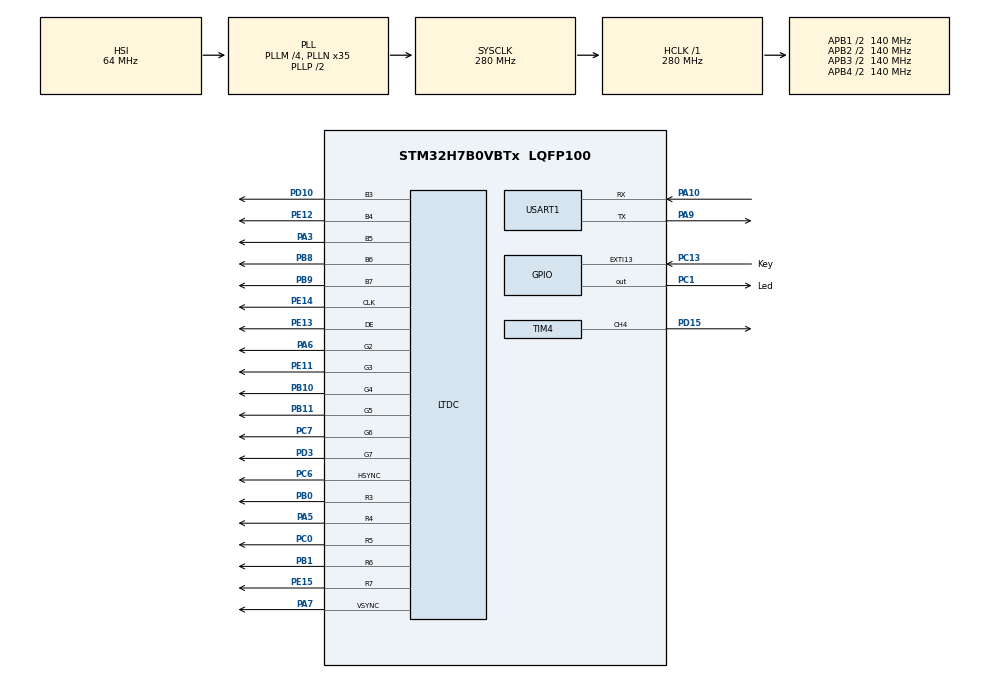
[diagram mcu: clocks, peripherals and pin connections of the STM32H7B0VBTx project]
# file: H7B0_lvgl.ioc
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CORTEX_M7.AccessPermission-Cortex_Memory_Protection_Unit_Region0_Settings=MPU_REGION_FULL_ACCESS
CORTEX_M7.BaseAddress-Cortex_Memory_Protection_Unit_Region0_Settings=0x24000000
CORTEX_M7.CPU_DCache=Enabled
CORTEX_M7.CPU_ICache=Enabled
CORTEX_M7.Enable-Cortex_Memory_Protection_Unit_Region0_Settings=MPU_REGION_ENABLE
CORTEX_M7.IsBufferable-Cortex_Memory_Protection_Unit_Region0_Settings=MPU_ACCESS_NOT_BUFFERABLE
CORTEX_M7.IsCacheable-Cortex_Memory_Protection_Unit_Region0_Settings=MPU_ACCESS_CACHEABLE
CORTEX_M7.MPU_Control=MPU_PRIVILEGED_DEFAULT
CORTEX_M7.Size-Cortex_Memory_Protection_Unit_Region0_Settings=MPU_REGION_SIZE_1MB
CORTEX_M7.TypeExtField-Cortex_Memory_Protection_Unit_Region0_Settings=MPU_TEX_LEVEL0
DMA2D.ColorMode=DMA2D_OUTPUT_RGB565
DMA2D.Mode=DMA2D_R2M
LTDC.ActiveW=800
LTDC.Alpha0_L0=0
LTDC.Alpha_L0=255
LTDC.Blue=0
LTDC.Blue_L0=255
LTDC.FBStartAdress_L0=\ 0x24000000
LTDC.Green=0
LTDC.Green_L0=255
LTDC.HBP=80
LTDC.HFP=200
LTDC.HSync=1
LTDC.ImageHeight_L0=480
LTDC.ImageWidth_L0=800
LTDC.Layers=0
LTDC.PixelFormat_L0=LTDC_PIXEL_FORMAT_RGB565
LTDC.Red=0
LTDC.Red_L0=255
LTDC.VBP=40
LTDC.VFP=22
LTDC.VSync=1
LTDC.WindowX1_L0=800
LTDC.WindowY1_L0=480
Mcu.Family=STM32H7
Mcu.Name=STM32H7B0VBTx
Mcu.Package=LQFP100
NVIC.DMA2D_IRQn=true\:0\:0\:false\:false\:true\:true\:true
NVIC.EXTI15_10_IRQn=true\:0\:3\:false\:false\:true\:true\:true
NVIC.PriorityGroup=NVIC_PRIORITYGROUP_2
NVIC.TIM7_IRQn=true\:1\:0\:true\:false\:true\:true\:true
NVIC.USART1_IRQn=true\:0\:2\:false\:false\:true\:true\:true
PA10.Mode=Asynchronous
PA10.Signal=USART1_RX
PA13.Mode=Serial_Wire
PA13.Signal=DEBUG_JTMS-SWDIO
PA14.Mode=Serial_Wire
PA14.Signal=DEBUG_JTCK-SWCLK
PA3.GPIO_Speed=GPIO_SPEED_FREQ_VERY_HIGH
PA3.Mode=RGB565
PA3.Signal=LTDC_B5
PA5.GPIO_Speed=GPIO_SPEED_FREQ_VERY_HIGH
PA5.Mode=RGB565
PA5.Signal=LTDC_R4
PA6.GPIO_Speed=GPIO_SPEED_FREQ_VERY_HIGH
PA6.Mode=RGB565
PA6.Signal=LTDC_G2
PA7.GPIO_Speed=GPIO_SPEED_FREQ_VERY_HIGH
PA7.Mode=RGB565
PA7.Signal=LTDC_VSYNC
PA9.Mode=Asynchronous
PA9.Signal=USART1_TX
PB0.GPIO_Speed=GPIO_SPEED_FREQ_VERY_HIGH
PB0.Mode=RGB565
PB0.Signal=LTDC_R3
PB1.GPIO_Speed=GPIO_SPEED_FREQ_VERY_HIGH
PB1.Mode=RGB565
PB1.Signal=LTDC_R6
PB10.GPIO_Speed=GPIO_SPEED_FREQ_VERY_HIGH
PB10.Mode=RGB565
PB10.Signal=LTDC_G4
PB11.GPIO_Speed=GPIO_SPEED_FREQ_VERY_HIGH
PB11.Mode=RGB565
PB11.Signal=LTDC_G5
PB8.GPIO_FM8=__NULL
PB8.GPIO_Speed=GPIO_SPEED_FREQ_VERY_HIGH
PB8.Mode=RGB565
PB8.Signal=LTDC_B6
PB9.GPIO_FM9=__NULL
PB9.GPIO_Speed=GPIO_SPEED_FREQ_VERY_HIGH
PB9.Mode=RGB565
PB9.Signal=LTDC_B7
PC0.GPIO_Speed=GPIO_SPEED_FREQ_VERY_HIGH
PC0.Mode=RGB565
PC0.Signal=LTDC_R5
PC1.GPIO_Label=Led
PC1.GPIO_Speed=GPIO_SPEED_FREQ_LOW
PC1.PinState=GPIO_PIN_RESET
PC1.Signal=GPIO_Output
PC13.GPIO_Label=Key
PC13.GPIO_ModeDefaultEXTI=GPIO_MODE_IT_FALLING
PC13.GPIO_PuPd=GPIO_PULLUP
PC13.Signal=GPXTI13
PC6.GPIO_Speed=GPIO_SPEED_FREQ_VERY_HIGH
PC6.Mode=RGB565
PC6.Signal=LTDC_HSYNC
PC7.GPIO_Speed=GPIO_SPEED_FREQ_VERY_HIGH
PC7.Mode=RGB565
PC7.Signal=LTDC_G6
PD10.GPIO_Speed=GPIO_SPEED_FREQ_VERY_HIGH
PD10.Mode=RGB565
PD10.Signal=LTDC_B3
PD15.Signal=S_TIM4_CH4
PD3.GPIO_Speed=GPIO_SPEED_FREQ_VERY_HIGH
PD3.Mode=RGB565
PD3.Signal=LTDC_G7
PE11.GPIO_Speed=GPIO_SPEED_FREQ_VERY_HIGH
PE11.Mode=RGB565
PE11.Signal=LTDC_G3
PE12.GPIO_Speed=GPIO_SPEED_FREQ_VERY_HIGH
PE12.Mode=RGB565
PE12.Signal=LTDC_B4
PE13.GPIO_Speed=GPIO_SPEED_FREQ_VERY_HIGH
PE13.Mode=RGB565
PE13.Signal=LTDC_DE
PE14.GPIO_Speed=GPIO_SPEED_FREQ_VERY_HIGH
PE14.Mode=RGB565
PE14.Signal=LTDC_CLK
PE15.GPIO_Speed=GPIO_SPEED_FREQ_VERY_HIGH
PE15.Mode=RGB565
PE15.Signal=LTDC_R7
PH0-OSC_IN.Mode=HSE-External-Oscillator
PH0-OSC_IN.Signal=RCC_OSC_IN
PH1-OSC_OUT.Mode=HSE-External-Oscillator
PH1-OSC_OUT.Signal=RCC_OSC_OUT
ProjectManager.HeapSize=0x200
ProjectManager.StackSize=0x400
ProjectManager.TargetToolchain=MDK-ARM V5.27
RCC.ADCFreq_Value=129000000
RCC.APB1Freq_Value=140000000
RCC.APB2Freq_Value=140000000
RCC.APB3Freq_Value=140000000
RCC.APB4Freq_Value=140000000
RCC.CDPPRE=RCC_APB3_DIV2
RCC.CDPPRE1=RCC_APB1_DIV2
RCC.CDPPRE2=RCC_APB2_DIV2
RCC.CortexFreq_Value=280000000
RCC.DIVM1=4
RCC.DIVM3=4
RCC.DIVN1=35
RCC.DIVN3=8
RCC.DIVR3=4
RCC.HCLKFreq_Value=280000000
RCC.PLL3FRACN=0
RCC.PLLFRACN=0
RCC.SRDPPRE=RCC_APB4_DIV2
RCC.SYSCLKFreq_VALUE=280000000
RCC.SYSCLKSource=RCC_SYSCLKSOURCE_PLLCLK
RCC.USBFreq_Value=280000000
SH.S_TIM4_CH4.0=TIM4_CH4,PWM Generation4 CH4
TIM4.Channel-PWM\ Generation4\ CH4=TIM_CHANNEL_4
TIM4.Period=99
TIM4.Prescaler=1399
TIM4.Pulse-PWM\ Generation4\ CH4=99
TIM7.Period=999
TIM7.Prescaler=279
USART1.VirtualMode-Asynchronous=VM_ASYNC
VP_DMA2D_VS_DMA2D.Mode=DMA2D_Activate
VP_TIM7_VS_ClockSourceINT.Mode=Enable_Timer
board=custom

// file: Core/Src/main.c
/* USER CODE BEGIN Header */
/**
 ******************************************************************************
 * @file           : main.c
 * @brief          : Main program body
 ******************************************************************************
 * @attention
 *
 * <h2><center>&copy; Copyright (c) 2023 STMicroelectronics.
 * All rights reserved.</center></h2>
 *
 * This software component is licensed by ST under BSD 3-Clause license,
 * the "License"; You may not use this file except in compliance with the
 * License. You may obtain a copy of the License at:
 *                        opensource.org/licenses/BSD-3-Clause
 *
 ******************************************************************************
 */
/* USER CODE END Header */
#include "main.h"

/* USER CODE BEGIN Includes */
#include "lvgl.h"
#include "lv_port_disp.h"
#include "lv_port_indev.h"
#include "lv_demo_keypad_encoder.h"

/* USER CODE END Includes */

DMA2D_HandleTypeDef hdma2d;

LTDC_HandleTypeDef hltdc;

TIM_HandleTypeDef htim4;
TIM_HandleTypeDef htim7;

UART_HandleTypeDef huart1;

/* USER CODE BEGIN PV */
lv_obj_t * led1;
lv_obj_t * led2;
lv_obj_t * led3;
/* USER CODE END PV */

void SystemClock_Config(void);
static void MPU_Config(void);
static void MX_GPIO_Init(void);
static void MX_USART1_UART_Init(void);
static void MX_TIM4_Init(void);
static void MX_LTDC_Init(void);
static void MX_DMA2D_Init(void);
static void MX_TIM7_Init(void);

/* USER CODE BEGIN 0 */
void lv_example_led_1(void)
{

    /*Create a LED and switch it OFF*/
    led1  = lv_led_create(lv_scr_act());
    lv_obj_align(led1, LV_ALIGN_CENTER, -80, 0);
    lv_led_set_color(led1, lv_palette_main(LV_PALETTE_GREEN));
    lv_led_off(led1);

    /*Copy the previous LED and set a brightness*/
    led2  = lv_led_create(lv_scr_act());
    lv_obj_align(led2, LV_ALIGN_CENTER, 0, 0);
    lv_led_set_brightness(led2, 150);
    lv_led_set_color(led2, lv_palette_main(LV_PALETTE_RED));

    /*Copy the previous LED and switch it ON*/
    led3  = lv_led_create(lv_scr_act());
    lv_obj_align(led3, LV_ALIGN_CENTER, 80, 0);
    lv_led_on(led3);
}
static void event_handler(lv_event_t * e)
{
    lv_event_code_t code = lv_event_get_code(e);

    if(code == LV_EVENT_CLICKED) {
        printf("1\n");
        lv_led_toggle(led1);
    }
    else if(code == LV_EVENT_VALUE_CHANGED) {
        printf("2\n");
        lv_led_toggle(led2);
    }
}

void lv_example_btn_1(void)
{
    lv_obj_t * label;

    lv_obj_t * btn1 = lv_btn_create(lv_scr_act());
    lv_obj_add_event_cb(btn1, event_handler, LV_EVENT_ALL, NULL);
    lv_obj_align(btn1, LV_ALIGN_CENTER, 60, 160);

    label = lv_label_create(btn1);
    lv_label_set_text(label, "Button");
    lv_obj_center(label);

    lv_obj_t * btn2 = lv_btn_create(lv_scr_act());
    lv_obj_add_event_cb(btn2, event_handler, LV_EVENT_ALL, NULL);
    lv_obj_align(btn2, LV_ALIGN_CENTER, -60, 160);
    lv_obj_add_flag(btn2, LV_OBJ_FLAG_CHECKABLE);
    lv_obj_set_height(btn2, LV_SIZE_CONTENT);

    label = lv_label_create(btn2);
    lv_label_set_text(label, "Toggle");
    lv_obj_center(label);

}
/* USER CODE END 0 */

int main(void)
{

  /* MPU Configuration--------------------------------------------------------*/
  MPU_Config();

  /* Enable I-Cache---------------------------------------------------------*/
  SCB_EnableICache();

  /* Enable D-Cache---------------------------------------------------------*/
  SCB_EnableDCache();

  /* MCU Configuration--------------------------------------------------------*/

  /* Reset of all peripherals, Initializes the Flash interface and the Systick. */
  HAL_Init();

  /* Configure the system clock */
  SystemClock_Config();

  /* Initialize all configured peripherals */
  MX_GPIO_Init();
  MX_USART1_UART_Init();
  MX_TIM4_Init();
  MX_LTDC_Init();
  MX_DMA2D_Init();
  MX_TIM7_Init();
  /* USER CODE BEGIN 2 */

    HAL_TIM_Base_Start_IT(&htim7);
    HAL_TIM_PWM_Start(&htim4, TIM_CHANNEL_4);
    TIM4->CCR4 = 99;
    Touch_Init(); // 触摸屏初始化
    Usart_SendString((uint8_t *)"初始化ok\n");
    printf("ok\n");

/********************LVGL初始化*********************************/
    lv_init();			  // lvgl系统初始化
    lv_port_disp_init();  // lvgl显示接口初始化,放在lv_init()的后面
    lv_port_indev_init(); // lvgl输入接口初始化,放在lv_init()的后面
    lv_example_led_1();
    lv_example_btn_1();
//    lv_example_span_1();
//    lv_demo_keypad_encoder();
//    lv_example_style_1();

  /* USER CODE END 2 */

  /* Infinite loop */
  while (1)
  {

    /* USER CODE BEGIN 3 */
    lv_task_handler(); // lvgl的事务处理
    GPIOC->ODR^=GPIO_PIN_1;
  }
  /* USER CODE END 3 */
}

void SystemClock_Config(void)
{
  RCC_OscInitTypeDef RCC_OscInitStruct = {0};
  RCC_ClkInitTypeDef RCC_ClkInitStruct = {0};
  RCC_PeriphCLKInitTypeDef PeriphClkInitStruct = {0};

  /** Supply configuration update enable
  */
  HAL_PWREx_ConfigSupply(PWR_LDO_SUPPLY);
  /** Configure the main internal regulator output voltage
  */
  __HAL_PWR_VOLTAGESCALING_CONFIG(PWR_REGULATOR_VOLTAGE_SCALE0);

  while(!__HAL_PWR_GET_FLAG(PWR_FLAG_VOSRDY)) {}
  /** Macro to configure the PLL clock source
  */
  __HAL_RCC_PLL_PLLSOURCE_CONFIG(RCC_PLLSOURCE_HSI);
  /** Initializes the RCC Oscillators according to the specified parameters
  * in the RCC_OscInitTypeDef structure.
  */
  RCC_OscInitStruct.OscillatorType = RCC_OSCILLATORTYPE_HSI;
  RCC_OscInitStruct.HSIState = RCC_HSI_DIV1;
  RCC_OscInitStruct.HSICalibrationValue = RCC_HSICALIBRATION_DEFAULT;
  RCC_OscInitStruct.PLL.PLLState = RCC_PLL_ON;
  RCC_OscInitStruct.PLL.PLLSource = RCC_PLLSOURCE_HSI;
  RCC_OscInitStruct.PLL.PLLM = 4;
  RCC_OscInitStruct.PLL.PLLN = 35;
  RCC_OscInitStruct.PLL.PLLP = 2;
  RCC_OscInitStruct.PLL.PLLQ = 2;
  RCC_OscInitStruct.PLL.PLLR = 2;
  RCC_OscInitStruct.PLL.PLLRGE = RCC_PLL1VCIRANGE_3;
  RCC_OscInitStruct.PLL.PLLVCOSEL = RCC_PLL1VCOWIDE;
  RCC_OscInitStruct.PLL.PLLFRACN = 0;
  if (HAL_RCC_OscConfig(&RCC_OscInitStruct) != HAL_OK)
  {
    Error_Handler();
  }
  /** Initializes the CPU, AHB and APB buses clocks
  */
  RCC_ClkInitStruct.ClockType = RCC_CLOCKTYPE_HCLK|RCC_CLOCKTYPE_SYSCLK
                              |RCC_CLOCKTYPE_PCLK1|RCC_CLOCKTYPE_PCLK2
                              |RCC_CLOCKTYPE_D3PCLK1|RCC_CLOCKTYPE_D1PCLK1;
  RCC_ClkInitStruct.SYSCLKSource = RCC_SYSCLKSOURCE_PLLCLK;
  RCC_ClkInitStruct.SYSCLKDivider = RCC_SYSCLK_DIV1;
  RCC_ClkInitStruct.AHBCLKDivider = RCC_HCLK_DIV1;
  RCC_ClkInitStruct.APB3CLKDivider = RCC_APB3_DIV2;
  RCC_ClkInitStruct.APB1CLKDivider = RCC_APB1_DIV2;
  RCC_ClkInitStruct.APB2CLKDivider = RCC_APB2_DIV2;
  RCC_ClkInitStruct.APB4CLKDivider = RCC_APB4_DIV2;

  if (HAL_RCC_ClockConfig(&RCC_ClkInitStruct, FLASH_LATENCY_7) != HAL_OK)
  {
    Error_Handler();
  }
  PeriphClkInitStruct.PeriphClockSelection = RCC_PERIPHCLK_LTDC|RCC_PERIPHCLK_USART16;
  PeriphClkInitStruct.PLL3.PLL3M = 4;
  PeriphClkInitStruct.PLL3.PLL3N = 8;
  PeriphClkInitStruct.PLL3.PLL3P = 2;
  PeriphClkInitStruct.PLL3.PLL3Q = 2;
  PeriphClkInitStruct.PLL3.PLL3R = 4;
  PeriphClkInitStruct.PLL3.PLL3RGE = RCC_PLL3VCIRANGE_3;
  PeriphClkInitStruct.PLL3.PLL3VCOSEL = RCC_PLL3VCOWIDE;
  PeriphClkInitStruct.PLL3.PLL3FRACN = 0;
  PeriphClkInitStruct.Usart16ClockSelection = RCC_USART16910CLKSOURCE_D2PCLK2;
  if (HAL_RCCEx_PeriphCLKConfig(&PeriphClkInitStruct) != HAL_OK)
  {
    Error_Handler();
  }
}

static void MX_DMA2D_Init(void)
{

  hdma2d.Instance = DMA2D;
  hdma2d.Init.Mode = DMA2D_R2M;
  hdma2d.Init.ColorMode = DMA2D_OUTPUT_RGB565;
  hdma2d.Init.OutputOffset = 0;
  hdma2d.Init.BytesSwap = DMA2D_BYTES_REGULAR;
  hdma2d.Init.LineOffsetMode = DMA2D_LOM_PIXELS;
  if (HAL_DMA2D_Init(&hdma2d) != HAL_OK)
  {
    Error_Handler();
  }

}

static void MX_LTDC_Init(void)
{

  LTDC_LayerCfgTypeDef pLayerCfg = {0};

  hltdc.Instance = LTDC;
  hltdc.Init.HSPolarity = LTDC_HSPOLARITY_AL;
  hltdc.Init.VSPolarity = LTDC_VSPOLARITY_AL;
  hltdc.Init.DEPolarity = LTDC_DEPOLARITY_AL;
  hltdc.Init.PCPolarity = LTDC_PCPOLARITY_IPC;
  hltdc.Init.HorizontalSync = 0;
  hltdc.Init.VerticalSync = 0;
  hltdc.Init.AccumulatedHBP = 80;
  hltdc.Init.AccumulatedVBP = 40;
  hltdc.Init.AccumulatedActiveW = 880;
  hltdc.Init.AccumulatedActiveH = 520;
  hltdc.Init.TotalWidth = 1080;
  hltdc.Init.TotalHeigh = 542;
  hltdc.Init.Backcolor.Blue = 0;
  hltdc.Init.Backcolor.Green = 0;
  hltdc.Init.Backcolor.Red = 0;
  if (HAL_LTDC_Init(&hltdc) != HAL_OK)
  {
    Error_Handler();
  }
  pLayerCfg.WindowX0 = 0;
  pLayerCfg.WindowX1 = 800;
  pLayerCfg.WindowY0 = 0;
  pLayerCfg.WindowY1 = 480;
  pLayerCfg.PixelFormat = LTDC_PIXEL_FORMAT_RGB565;
  pLayerCfg.Alpha = 255;
  pLayerCfg.Alpha0 = 0;
  pLayerCfg.BlendingFactor1 = LTDC_BLENDING_FACTOR1_CA;
  pLayerCfg.BlendingFactor2 = LTDC_BLENDING_FACTOR2_CA;
  pLayerCfg.FBStartAdress = 0x24000000;
  pLayerCfg.ImageWidth = 800;
  pLayerCfg.ImageHeight = 480;
  pLayerCfg.Backcolor.Blue = 255;
  pLayerCfg.Backcolor.Green = 255;
  pLayerCfg.Backcolor.Red = 255;
  if (HAL_LTDC_ConfigLayer(&hltdc, &pLayerCfg, 0) != HAL_OK)
  {
    Error_Handler();
  }

}

static void MX_TIM4_Init(void)
{

  TIM_MasterConfigTypeDef sMasterConfig = {0};
  TIM_OC_InitTypeDef sConfigOC = {0};

  htim4.Instance = TIM4;
  htim4.Init.Prescaler = 1399;
  htim4.Init.CounterMode = TIM_COUNTERMODE_UP;
  htim4.Init.Period = 99;
  htim4.Init.ClockDivision = TIM_CLOCKDIVISION_DIV1;
  htim4.Init.AutoReloadPreload = TIM_AUTORELOAD_PRELOAD_DISABLE;
  if (HAL_TIM_PWM_Init(&htim4) != HAL_OK)
  {
    Error_Handler();
  }
  sMasterConfig.MasterOutputTrigger = TIM_TRGO_RESET;
  sMasterConfig.MasterSlaveMode = TIM_MASTERSLAVEMODE_DISABLE;
  if (HAL_TIMEx_MasterConfigSynchronization(&htim4, &sMasterConfig) != HAL_OK)
  {
    Error_Handler();
  }
  sConfigOC.OCMode = TIM_OCMODE_PWM1;
  sConfigOC.Pulse = 99;
  sConfigOC.OCPolarity = TIM_OCPOLARITY_HIGH;
  sConfigOC.OCFastMode = TIM_OCFAST_DISABLE;
  if (HAL_TIM_PWM_ConfigChannel(&htim4, &sConfigOC, TIM_CHANNEL_4) != HAL_OK)
  {
    Error_Handler();
  }
  HAL_TIM_MspPostInit(&htim4);

}

static void MX_TIM7_Init(void)
{

  TIM_MasterConfigTypeDef sMasterConfig = {0};

  htim7.Instance = TIM7;
  htim7.Init.Prescaler = 279;
  htim7.Init.CounterMode = TIM_COUNTERMODE_UP;
  htim7.Init.Period = 999;
  htim7.Init.AutoReloadPreload = TIM_AUTORELOAD_PRELOAD_DISABLE;
  if (HAL_TIM_Base_Init(&htim7) != HAL_OK)
  {
    Error_Handler();
  }
  sMasterConfig.MasterOutputTrigger = TIM_TRGO_RESET;
  sMasterConfig.MasterSlaveMode = TIM_MASTERSLAVEMODE_DISABLE;
  if (HAL_TIMEx_MasterConfigSynchronization(&htim7, &sMasterConfig) != HAL_OK)
  {
    Error_Handler();
  }

}

static void MX_USART1_UART_Init(void)
{

  huart1.Instance = USART1;
  huart1.Init.BaudRate = 115200;
  huart1.Init.WordLength = UART_WORDLENGTH_8B;
  huart1.Init.StopBits = UART_STOPBITS_1;
  huart1.Init.Parity = UART_PARITY_NONE;
  huart1.Init.Mode = UART_MODE_TX_RX;
  huart1.Init.HwFlowCtl = UART_HWCONTROL_NONE;
  huart1.Init.OverSampling = UART_OVERSAMPLING_16;
  huart1.Init.OneBitSampling = UART_ONE_BIT_SAMPLE_DISABLE;
  huart1.Init.ClockPrescaler = UART_PRESCALER_DIV1;
  huart1.AdvancedInit.AdvFeatureInit = UART_ADVFEATURE_NO_INIT;
  if (HAL_UART_Init(&huart1) != HAL_OK)
  {
    Error_Handler();
  }
  if (HAL_UARTEx_SetTxFifoThreshold(&huart1, UART_TXFIFO_THRESHOLD_1_8) != HAL_OK)
  {
    Error_Handler();
  }
  if (HAL_UARTEx_SetRxFifoThreshold(&huart1, UART_RXFIFO_THRESHOLD_1_8) != HAL_OK)
  {
    Error_Handler();
  }
  if (HAL_UARTEx_DisableFifoMode(&huart1) != HAL_OK)
  {
    Error_Handler();
  }

}

static void MX_GPIO_Init(void)
{
  GPIO_InitTypeDef GPIO_InitStruct = {0};

  /* GPIO Ports Clock Enable */
  __HAL_RCC_GPIOC_CLK_ENABLE();
  __HAL_RCC_GPIOH_CLK_ENABLE();
  __HAL_RCC_GPIOA_CLK_ENABLE();
  __HAL_RCC_GPIOB_CLK_ENABLE();
  __HAL_RCC_GPIOE_CLK_ENABLE();
  __HAL_RCC_GPIOD_CLK_ENABLE();

  /*Configure GPIO pin Output Level */
  HAL_GPIO_WritePin(Led_GPIO_Port, Led_Pin, GPIO_PIN_RESET);

  /*Configure GPIO pin : Key_Pin */
  GPIO_InitStruct.Pin = Key_Pin;
  GPIO_InitStruct.Mode = GPIO_MODE_IT_FALLING;
  GPIO_InitStruct.Pull = GPIO_PULLUP;
  HAL_GPIO_Init(Key_GPIO_Port, &GPIO_InitStruct);

  /*Configure GPIO pin : Led_Pin */
  GPIO_InitStruct.Pin = Led_Pin;
  GPIO_InitStruct.Mode = GPIO_MODE_OUTPUT_PP;
  GPIO_InitStruct.Pull = GPIO_NOPULL;
  GPIO_InitStruct.Speed = GPIO_SPEED_FREQ_LOW;
  HAL_GPIO_Init(Led_GPIO_Port, &GPIO_InitStruct);

  /* EXTI interrupt init*/
  HAL_NVIC_SetPriority(EXTI15_10_IRQn, 0, 3);
  HAL_NVIC_EnableIRQ(EXTI15_10_IRQn);

}

/* MPU Configuration */

void MPU_Config(void)
{
  MPU_Region_InitTypeDef MPU_InitStruct = {0};

  /* Disables the MPU */
  HAL_MPU_Disable();
  /** Initializes and configures the Region and the memory to be protected
  */
  MPU_InitStruct.Enable = MPU_REGION_ENABLE;
  MPU_InitStruct.Number = MPU_REGION_NUMBER0;
  MPU_InitStruct.BaseAddress = 0x24000000;
  MPU_InitStruct.Size = MPU_REGION_SIZE_1MB;
  MPU_InitStruct.SubRegionDisable = 0x0;
  MPU_InitStruct.TypeExtField = MPU_TEX_LEVEL0;
  MPU_InitStruct.AccessPermission = MPU_REGION_FULL_ACCESS;
  MPU_InitStruct.DisableExec = MPU_INSTRUCTION_ACCESS_ENABLE;
  MPU_InitStruct.IsShareable = MPU_ACCESS_NOT_SHAREABLE;
  MPU_InitStruct.IsCacheable = MPU_ACCESS_CACHEABLE;
  MPU_InitStruct.IsBufferable = MPU_ACCESS_NOT_BUFFERABLE;

  HAL_MPU_ConfigRegion(&MPU_InitStruct);
  /* Enables the MPU */
  HAL_MPU_Enable(MPU_PRIVILEGED_DEFAULT);

}

void Error_Handler(void)
{
  __disable_irq();
  while (1)
  {
  }
}

/************************ (C) COPYRIGHT STMicroelectronics *****END OF FILE****/
